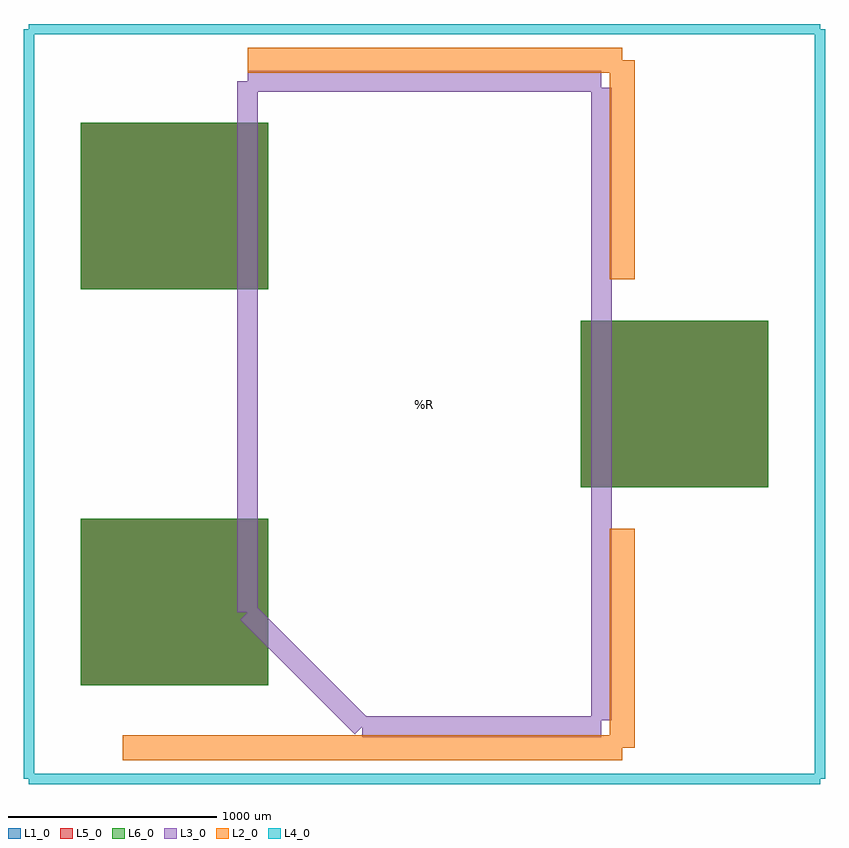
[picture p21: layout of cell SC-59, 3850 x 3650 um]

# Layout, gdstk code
import gdstk
lib = gdstk.Library(unit=1e-6, precision=1e-09)
def R(c, l, rs):  # rectangles x0, y0, x1, y1
    for r in rs: c.add(gdstk.rectangle(r[:2], r[2:], *l))
L1_0 = (1, 0)
L2_0 = (2, 0)
L3_0 = (3, 0)
L4_0 = (4, 0)
L5_0 = (5, 0)
L6_0 = (6, 0)

sc_59 = lib.new_cell('SC-59')
R(sc_59, L1_0, [(-1650,-1350,-750,-550), (750,-400,1650,400), (-1650,550,-750,1350)])
R(sc_59, L5_0, [(-1650,-1350,-750,-550), (750,-400,1650,400), (-1650,550,-750,1350)])
R(sc_59, L6_0, [(-1650,-1350,-750,-550), (750,-400,1650,400), (-1650,550,-750,1350)])
sc_59.add(gdstk.FlexPath([(-850,1550),(-850,-1000)], 100, ends="flush", simple_path=True, layer=3, datatype=0))  # L3_0
sc_59.add(gdstk.FlexPath([(-1450,-1650),(950,-1650)], 120, ends="flush", simple_path=True, layer=2, datatype=0))  # L2_0
sc_59.add(gdstk.FlexPath([(950,-1650),(950,-600)], 120, ends="flush", simple_path=True, layer=2, datatype=0))  # L2_0
sc_59.add(gdstk.FlexPath([(-850,1650),(950,1650)], 120, ends="flush", simple_path=True, layer=2, datatype=0))  # L2_0
sc_59.add(gdstk.FlexPath([(950,1650),(950,600)], 120, ends="flush", simple_path=True, layer=2, datatype=0))  # L2_0
sc_59.add(gdstk.FlexPath([(-850,1550),(850,1550)], 100, ends="flush", simple_path=True, layer=3, datatype=0))  # L3_0
sc_59.add(gdstk.FlexPath([(-300,-1550),(-850,-1000)], 100, ends="flush", simple_path=True, layer=3, datatype=0))  # L3_0
sc_59.add(gdstk.FlexPath([(-300,-1550),(850,-1550)], 100, ends="flush", simple_path=True, layer=3, datatype=0))  # L3_0
sc_59.add(gdstk.FlexPath([(850,-1520),(850,1520)], 100, ends="flush", simple_path=True, layer=3, datatype=0))  # L3_0
sc_59.add(gdstk.FlexPath([(-1900,-1800),(1900,-1800)], 50, ends="flush", simple_path=True, layer=4, datatype=0))  # L4_0
sc_59.add(gdstk.FlexPath([(-1900,-1800),(-1900,1800)], 50, ends="flush", simple_path=True, layer=4, datatype=0))  # L4_0
sc_59.add(gdstk.FlexPath([(1900,1800),(1900,-1800)], 50, ends="flush", simple_path=True, layer=4, datatype=0))  # L4_0
sc_59.add(gdstk.FlexPath([(1900,1800),(-1900,1800)], 50, ends="flush", simple_path=True, layer=4, datatype=0))  # L4_0
sc_59.add(gdstk.Label('REF**', (0,-2500), layer=2, texttype=0))
sc_59.add(gdstk.Label('SC-59', (0,2500), layer=3, texttype=0))
sc_59.add(gdstk.Label('%R', (0,0), layer=3, texttype=0))

lib.write_gds('SC-59.gds')
